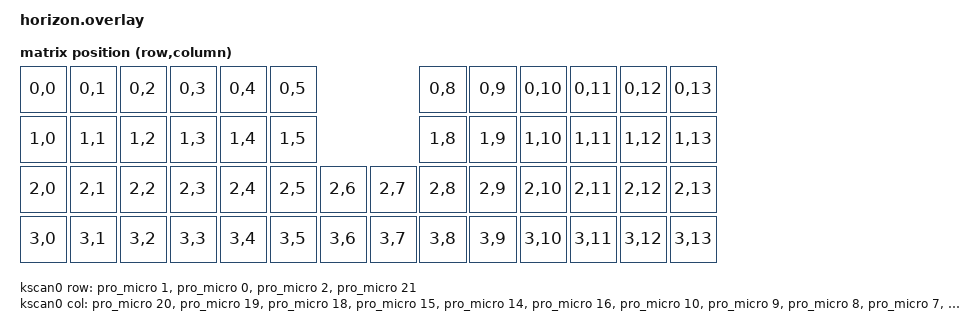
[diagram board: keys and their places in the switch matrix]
/*
 * Copyright (c) 2021 The ZMK Contributors
 *
 * SPDX-License-Identifier: MIT
 */

 #include "horizon-layouts.dtsi"
 #include <dt-bindings/zmk/matrix_transform.h>

/ {
    chosen {
        zmk,kscan = &kscan0;
        zmk,physical_layout = &horizon_layout;
    };

    kscan0: kscan_0 {
        compatible = "zmk,kscan-gpio-matrix";
        label = "KSCAN";
        diode-direction = "col2row";

        col-gpios
            = <&pro_micro 20 GPIO_ACTIVE_HIGH>
            , <&pro_micro 19 GPIO_ACTIVE_HIGH>
            , <&pro_micro 18 GPIO_ACTIVE_HIGH>
            , <&pro_micro 15 GPIO_ACTIVE_HIGH>
            , <&pro_micro 14 GPIO_ACTIVE_HIGH>
            , <&pro_micro 16 GPIO_ACTIVE_HIGH>
            , <&pro_micro 10 GPIO_ACTIVE_HIGH>
            , <&pro_micro 9 GPIO_ACTIVE_HIGH>
            , <&pro_micro 8 GPIO_ACTIVE_HIGH>
            , <&pro_micro 7 GPIO_ACTIVE_HIGH>
            , <&pro_micro 6 GPIO_ACTIVE_HIGH>
            , <&pro_micro 5 GPIO_ACTIVE_HIGH>
            , <&pro_micro 4 GPIO_ACTIVE_HIGH>
            , <&pro_micro 3 GPIO_ACTIVE_HIGH>
            ;

        row-gpios
            = <&pro_micro 1 (GPIO_ACTIVE_HIGH | GPIO_PULL_DOWN)>
            , <&pro_micro 0 (GPIO_ACTIVE_HIGH | GPIO_PULL_DOWN)>
            , <&pro_micro 2 (GPIO_ACTIVE_HIGH | GPIO_PULL_DOWN)>
            , <&pro_micro 21 (GPIO_ACTIVE_HIGH | GPIO_PULL_DOWN)>
            ;
    };

    default_transform: keymap_transform_0 {
        compatible = "zmk,matrix-transform";
        columns = <14>;
        rows = <4>;
        map = <
          RC(0,0)  RC(0,1)  RC(0,2)  RC(0,3)  RC(0,4)  RC(0,5)                    RC(0,8)  RC(0,9)  RC(0,10) RC(0,11) RC(0,12) RC(0,13)
          RC(1,0)  RC(1,1)  RC(1,2)  RC(1,3)  RC(1,4)  RC(1,5)                    RC(1,8)  RC(1,9)  RC(1,10) RC(1,11) RC(1,12) RC(1,13)
          RC(2,0)  RC(2,1)  RC(2,2)  RC(2,3)  RC(2,4)  RC(2,5)  RC(2,6)  RC(2,7)  RC(2,8)  RC(2,9)  RC(2,10) RC(2,11) RC(2,12) RC(2,13)
          RC(3,0)  RC(3,1)  RC(3,2)  RC(3,3)  RC(3,4)  RC(3,5)  RC(3,6)  RC(3,7)  RC(3,8)  RC(3,9)  RC(3,10) RC(3,11) RC(3,12) RC(3,13)
        >;
    };
};

/*
 * Remap uart0 to P1.01 (TX) and P1.02 (RX, unused) — bottom pads on the
 * nice!nano that are outside the Pro Micro footprint and therefore
 * electrically isolated from the Horizon key matrix.
 *
 * P1.01 → wire to Inkplate RXD pin on ESP32 header
 * P1.02 → no connection needed (declared to satisfy the UART driver)
 *
 * The board-level nice!nano overlay defines uart0_default with a group2
 * containing P0.06 (pro_micro 1, top row scan pin). Zephyr merges overlay
 * nodes rather than replacing them, so without the /delete-node/ directives
 * below, P0.06 would be claimed by both uart0 and the key matrix, breaking
 * the entire top row of keys. The deletes must appear before the &pinctrl
 * block that re-declares the groups.
 *
 * NOTE: studio-rpc-usb-uart snippet removed (see build.yaml) — uart0 is
 * repurposed for ZeroWriter output. BLE disabled (see horizon.conf).
 */

/* Remove board-default groups that bleed P0.06 into our uart0 pinctrl */
&uart0_default {
    /delete-node/ group1;
    /delete-node/ group2;
};

&uart0_sleep {
    /delete-node/ group1;
};

&pinctrl {
    uart0_default: uart0_default {
        group1 {
            psels = <NRF_PSEL(UART_TX, 1, 1)>,
                    <NRF_PSEL(UART_RX, 1, 2)>;
        };
    };

    uart0_sleep: uart0_sleep {
        group1 {
            psels = <NRF_PSEL(UART_TX, 1, 1)>,
                    <NRF_PSEL(UART_RX, 1, 2)>;
            low-power-enable;
        };
    };
};

&uart0 {
    status = "okay";
    current-speed = <921600>;
    pinctrl-0 = <&uart0_default>;
    pinctrl-1 = <&uart0_sleep>;
    pinctrl-names = "default", "sleep";
};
